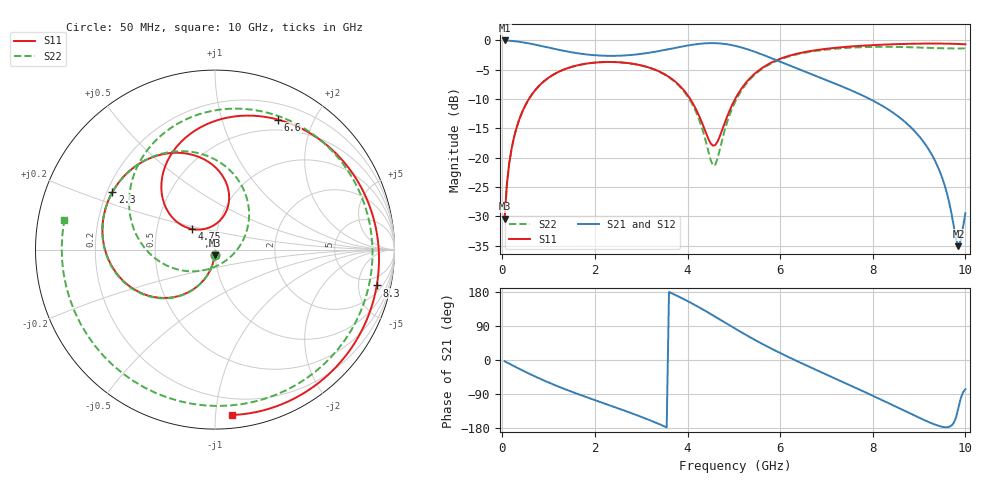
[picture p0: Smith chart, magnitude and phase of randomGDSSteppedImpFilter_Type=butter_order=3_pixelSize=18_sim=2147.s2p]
! freq	dB(S11)	phase(S11)	dB(S12)	phase(S12)
!  dB(S21)	phase(S21)	dB(S22)	phase(S22)
!S-par simulation data
#  GHz  S  DB  R 50
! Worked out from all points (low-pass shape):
!   200 points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, 50 MHz to 10 GHz, reference 50 ohm
!   highest |S21| = -0.01 dB at 50 MHz (marker M1); lowest = -35.1 dB at 9.85 GHz (marker M2)
!   |S21| within 3 dB of the highest: start of sweep to 5.807 GHz
!   lowest |S11| = -30.4 dB at 50 MHz (marker M3), VSWR 1.06, Z = 49.7 - j3 ohm
!   |S11| at or under -10 dB: start of sweep to 574.4 MHz; 4.059 GHz to 5.028 GHz (968.8 MHz wide, 21.3 % of centre)
!   |S22| runs from -30.4 to -1.1 dB; largest |S21 - S12| = 0
!   S11 on the Smith chart (normalised r, x): 50 MHz: 0.99, -0.06; 2.3 GHz: 0.22, +0.25; 4.75 GHz: 0.75, +0.18; 6.6 GHz: 0.37, +1.53; 8.3 GHz: 2.98, -8.06; 10 GHz: 0.09, -1.11
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0.05  -30.40 -93.3  -0.01 -3.3  -0.01 -3.3  -30.40 -93.3
0.2  -18.49 -103.4  -0.08 -12.9  -0.08 -12.9  -18.49 -103.2
0.5  -11.03 -122.1  -0.40 -31.4  -0.40 -31.4  -11.03 -121.8
1.05  -6.09 -152.8  -1.32 -62.0  -1.32 -62.0  -6.09 -152.2
1.75  -4.04 174.2  -2.32 -95.0  -2.32 -95.0  -4.04 174.8
2.3  -3.67 150.7  -2.63 -118.8  -2.63 -118.8  -3.68 150.9
3.4  -5.33 103.1  -1.79 -169.8  -1.79 -169.8  -5.38 98.2
4.1  -10.52 74.6  -0.74 149.1  -0.74 149.1  -10.84 48.7
4.55  -17.94 105.4  -0.46 117.8  -0.46 117.8  -21.32 -47.7
4.75  -15.21 138.6  -0.55 103.1  -0.55 103.1  -16.85 -124.5
5.05  -9.67 141.6  -0.97 81.2  -0.97 81.2  -10.11 -167.2
5.75  -4.03 107.6  -2.83 33.8  -2.83 33.8  -4.16 136.3
6.6  -1.88 64.1  -5.53 -16.2  -5.53 -16.2  -2.00 81.4
6.7  -1.75 59.2  -5.84 -21.8  -5.84 -21.8  -1.87 75.2
7.6  -0.99 17.8  -8.74 -71.7  -8.74 -71.7  -1.21 16.9
8.3  -0.69 -12.5  -11.60 -111.6  -11.60 -111.6  -1.09 -34.5
8.35  -0.68 -14.6  -11.85 -114.5  -11.85 -114.5  -1.09 -38.5
8.75  -0.58 -31.3  -14.26 -137.8  -14.26 -137.8  -1.15 -71.7
9.1  -0.54 -45.8  -17.33 -157.8  -17.33 -157.8  -1.24 -103.1
9.5  -0.54 -62.3  -23.44 -176.3  -23.44 -176.3  -1.34 -141.3
9.85  -0.61 -77.3  -35.06 -126.2  -35.06 -126.2  -1.37 -176.1
10  -0.67 -84.1  -29.44 -77.1  -29.44 -77.1  -1.36 168.8
